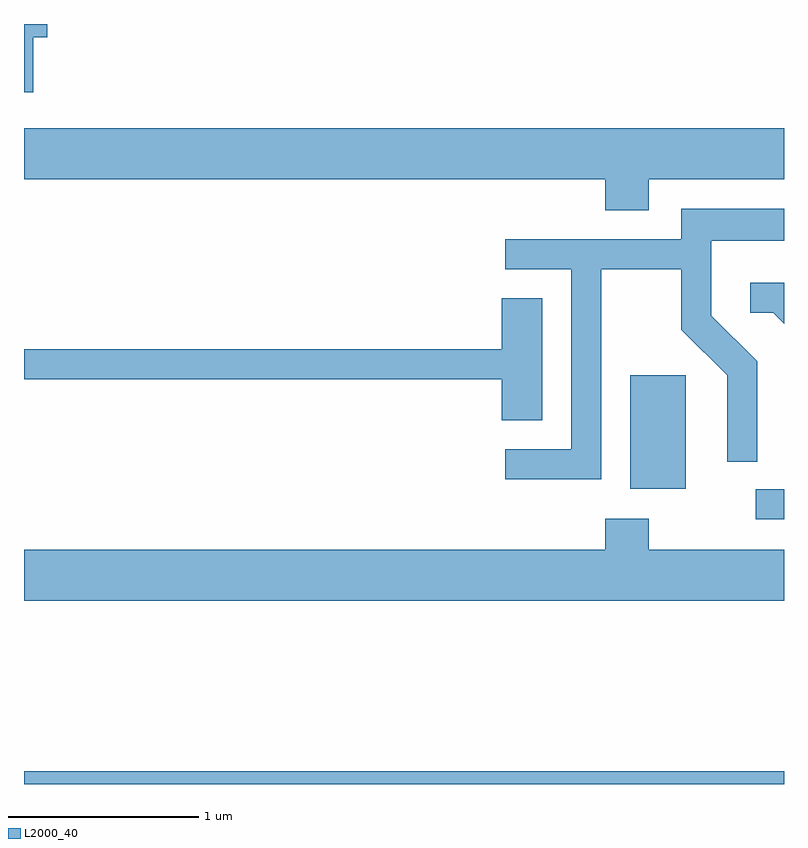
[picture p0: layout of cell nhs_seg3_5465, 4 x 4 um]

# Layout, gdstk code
import gdstk
lib = gdstk.Library(unit=1e-6, precision=1e-09)
def R(c, l, rs):  # rectangles x0, y0, x1, y1
    for r in rs: c.add(gdstk.rectangle(r[:2], r[2:], *l))
def P(c, l, *ps):  # polygons
    for p in ps: c.add(gdstk.Polygon(p, *l))
L2000_40 = (2000, 40)

nhs_seg3_5465 = lib.new_cell('nhs_seg3_5465')
R(nhs_seg3_5465, L2000_40, [(345.611,1173.892,349.611,1173.959), (349.463,1175.286,349.611,1175.444), (348.801,1175.446,349.094,1176.044)])
P(nhs_seg3_5465, L2000_40, [(345.659,1177.821),(345.734,1177.821),(345.734,1177.892),(345.611,1177.892),(345.611,1177.533),(345.659,1177.533)],
  [(348.899,1177.076),(349.611,1177.076),(349.611,1177.344),(345.611,1177.344),(345.611,1177.076),(348.671,1177.076),(348.671,1176.911),(348.899,1176.911)],
  [(348.649,1176.601),(349.071,1176.601),(349.071,1176.284),(349.311,1176.044),(349.311,1175.588),(349.469,1175.588),(349.469,1176.117),(349.229,1176.357),(349.229,1176.751),(349.611,1176.751),(349.611,1176.919),(349.071,1176.919),(349.071,1176.759),(348.143,1176.759),(348.143,1176.601),(348.491,1176.601),(348.491,1175.654),(348.143,1175.654),(348.143,1175.496),(348.649,1175.496)],
  [(349.611,1176.529),(349.433,1176.529),(349.433,1176.371),(349.554,1176.371),(349.611,1176.314)],
  [(348.339,1176.449),(348.126,1176.449),(348.126,1176.179),(345.611,1176.179),(345.611,1176.021),(348.126,1176.021),(348.126,1175.806),(348.339,1175.806)],
  [(349.611,1175.124),(348.899,1175.124),(348.899,1175.289),(348.671,1175.289),(348.671,1175.124),(345.611,1175.124),(345.611,1174.856),(349.611,1174.856)])

lib.write_gds('nhs_seg3_5465.gds')
